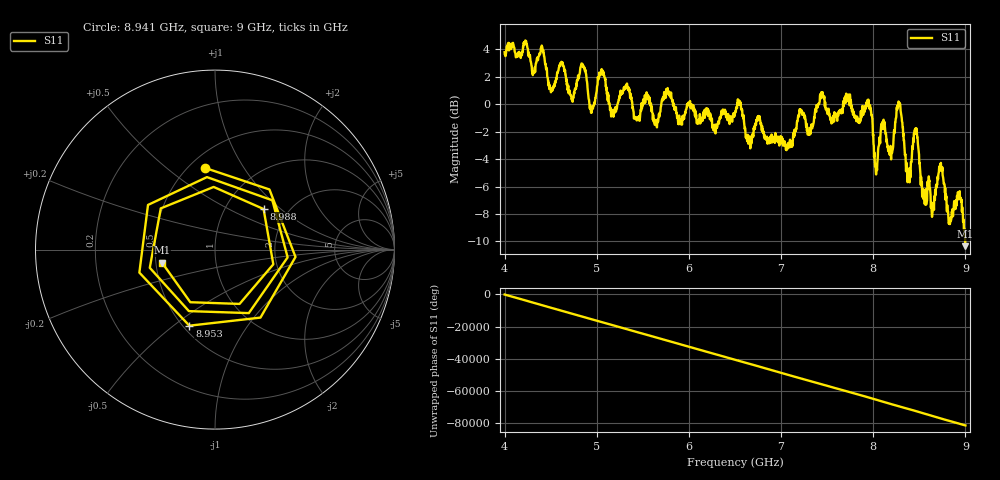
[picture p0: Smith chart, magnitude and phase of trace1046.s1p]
! Created with skrf 1.8.0 (http://scikit-rf.org).
# Hz S RI R 50.0
!freq ReS11 ImS11
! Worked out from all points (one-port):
!   1601 points, 4 GHz to 9 GHz, reference 50 ohm
!   lowest |S11| = -10.3 dB at 9 GHz (marker M1), VSWR 1.87, Z = 27 - j4.33 ohm
!   |S11| at or under -10 dB: 8.99813 GHz to end of sweep
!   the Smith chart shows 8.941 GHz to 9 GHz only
!   S11 on the Smith chart (normalised r, x): 8.941 GHz: 0.60, +0.69; 8.953 GHz: 0.54, -0.57; 8.988 GHz: 1.50, +0.78; 9 GHz: 0.54, -0.09
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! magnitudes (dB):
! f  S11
! 4 GHz  3.8
! 4.406 GHz  4.2
! 4.509 GHz  1.0
! 4.625 GHz  2.9
! 4.731 GHz  0.4
! 4.853 GHz  2.7
! 4.944 GHz  -0.6
! 5.05 GHz  2.3
! 5.162 GHz  -0.7
! 5.25 GHz  0.5
! 5.875 GHz  -0.9
! 6.5 GHz  -0.7
! 7.125 GHz  -3.0
! 7.75 GHz  0.5
! 7.953 GHz  0.0
! 8.034 GHz  -4.8
! 8.103 GHz  -1.5
! 8.194 GHz  -4.0
! 8.278 GHz  0.1
! 8.375 GHz  -5.3
! 8.459 GHz  -1.8
! 8.556 GHz  -6.9
! 8.731 GHz  -4.6
! 8.825 GHz  -8.7
! 8.941 GHz  -6.8
! 8.953 GHz  -7.0
! 8.988 GHz  -9.1
! 9 GHz  -10.3
